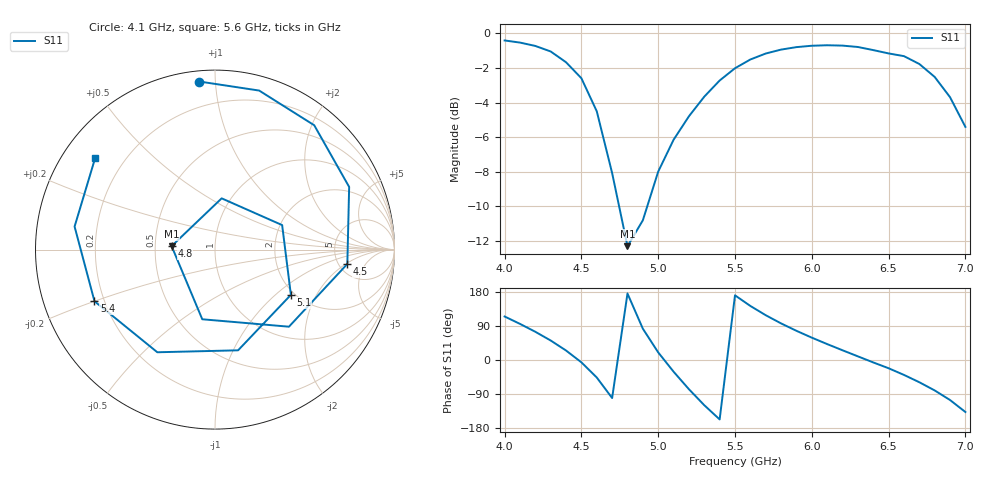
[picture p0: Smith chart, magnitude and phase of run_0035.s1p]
! Touchstone file exported from HFSS 2024.2.0
!  File:  C:/Users/wsak9/Desktop/Sim Fast/Widenad Patch/WP_AI_V1_sweep.aedt
!  Generated:  04:13:41 PM Oct 13, 2026
!  Design:  A1_model
!  Project:  WP_AI_V1_sweep
!  Setup:  Setup1
!  Solution:  Sweep
! Variables:
!  Air_gap = 2.07mm
!  Curve_Amp1 = 2.71
!  Curve_len1 = 1
!  Curve_pos = 11.255mm
!  Extra = 5.53mm
!  H_sub = 0.79mm
!  L_Patch = 18.51mm
!  L_Patch1 = 13.8mm
!  Sx = 1.59mm
!  Sy = 3.94mm
!  WS = 1.36mm
!  W_Patch = 21.82mm
!  W_Patch1 = 8.27mm
!Data is not renormalized
# GHz S MA
! Terminal data exported
! Port[1] = 1
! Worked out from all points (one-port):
!   31 points, 4 GHz to 7 GHz, reference per port
!   lowest |S11| = -12.3 dB at 4.8 GHz (marker M1), VSWR 1.64
!   |S11| at or under -10 dB: 4.745 GHz to 4.929 GHz (183.4 MHz wide, 3.79 % of centre)
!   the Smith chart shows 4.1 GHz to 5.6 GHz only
!   S11 on the Smith chart (normalised r, x): 4.1 GHz: 0.06, +0.91; 4.5 GHz: 5.96, -2.12; 4.8 GHz: 0.61, +0.03; 5.1 GHz: 1.91, -1.27; 5.4 GHz: 0.16, -0.20; 5.6 GHz: 0.10, +0.34
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4  0.9538 114.8
4.1  0.9405 95.3
4.2  0.9196 74.5
4.3  0.8863 51.4
4.4  0.825 25.0
4.5  0.7416 -6.2
4.6  0.5952 -46.2
4.7  0.3946 -100.4
4.8  0.2424 175.4
4.9  0.288 82.6
5  0.3983 20.0
5.1  0.4923 -30.8
5.2  0.5757 -77.1
5.3  0.6561 -119.3
5.4  0.7305 -156.8
5.5  0.7927 170.7
5.6  0.8403 142.6
5.7  0.8743 118.2
5.8  0.8975 96.5
5.9  0.9124 77.0
6.1  0.9239 42.0
6.3  0.9132 9.6
6.5  0.8749 -21.8
6.6  0.8593 -39.4
6.7  0.8156 -58.7
6.8  0.7482 -80.3
6.9  0.6537 -105.6
7  0.5364 -137.2
